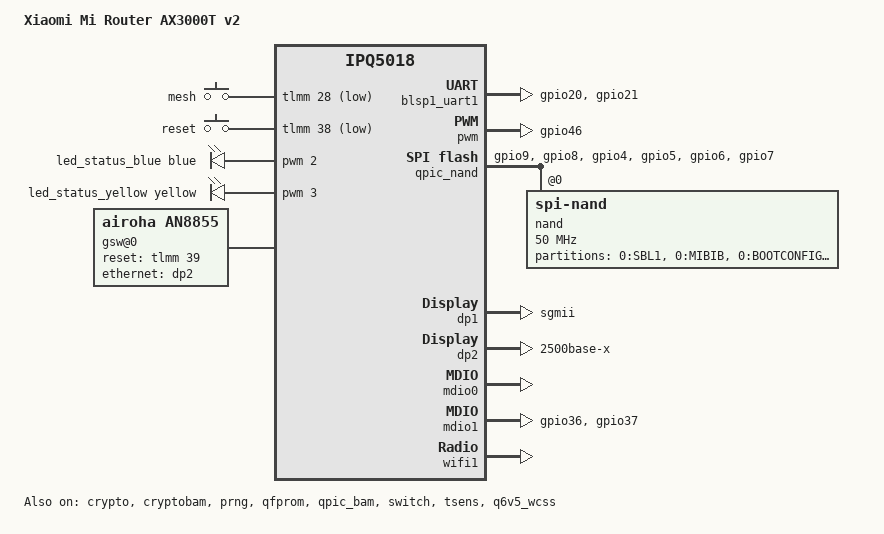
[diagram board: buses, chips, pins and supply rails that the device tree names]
/dts-v1/;

#include "ipq5018.dtsi"
#include "ipq5018-ess.dtsi"
#include "ipq5018-qcn6122.dtsi"

#include <dt-bindings/gpio/gpio.h>
#include <dt-bindings/input/input.h>
#include <dt-bindings/leds/common.h>

/ {
	model = "Xiaomi Mi Router AX3000T v2";
	compatible = "xiaomi,mi-router-ax3000t-v2", "qcom,ipq5018";

	aliases {
		label-mac-device = &dp1;

		led-boot = &led_status_blue;
		led-failsafe = &led_status_yellow;
		led-running = &led_status_blue;
		led-upgrade = &led_status_yellow;

		serial0 = &blsp1_uart1;
	};

	chosen {
		bootargs-append = " ubi.mtd=rootfs root=/dev/ubiblock0_0 coherent_pool=2M";
		stdout-path = "serial0:115200n8";
	};

	keys {
		compatible = "gpio-keys";

		pinctrl-0 = <&button_pins>;
		pinctrl-names = "default";

		button-0 {
			label = "mesh";
			gpios = <&tlmm 28 GPIO_ACTIVE_LOW>;
			linux,code = <KEY_RESTART>;
			debounce-interval = <60>;
		};

		button-1 {
			label = "reset";
			gpios = <&tlmm 38 GPIO_ACTIVE_LOW>;
			linux,code = <KEY_RESTART>;
			debounce-interval = <60>;
		};
	};

	leds {
		compatible = "pwm-leds";

		// pinctrl-0 = <&pwm_pins>;
		// pinctrl-names = "default";

		led_status_blue: led-0 {
			color = <LED_COLOR_ID_BLUE>;
			function = LED_FUNCTION_STATUS;
			pwms = <&pwm 2 50000>;
			max-brightness = <255>;
		};

		led_status_yellow: led-1 {
			color = <LED_COLOR_ID_YELLOW>;
			function = LED_FUNCTION_STATUS;
			pwms = <&pwm 3 50000>;
			max-brightness = <255>;
		};
	};

	reserved-memory {
		q6_mem_regions: q6_mem_regions@4b000000 {
			no-map;
			reg = <0x0 0x4b000000 0x0 0x3000000>;
		};
	};

	gsw@0 {
		compatible = "airoha,an8855";

		#address-cells = <1>;
		#size-cells = <0>;

		airoha,mdio = <&mdio1>;
		#airoha,portmap = "llllw";
		airoha,smi-addr = <6>;

		reset-gpios = <&tlmm 39 GPIO_ACTIVE_HIGH>;

		status = "okay";

		port@5 {
			compatible = "airoha,an8855-port";
			reg = <5>;

			phy-mode = "2500base-x";
			#airoha,stag-on = <1>;
			ethernet = <&dp2>;

			fixed-link {
				speed = <2500>;
				full-duplex;
			};
		};
	};
};

&sleep_clk {
	clock-frequency = <32000>;
};

&xo_board_clk {
	clock-div = <4>;
	clock-mult = <1>;
};

&blsp1_uart1 {
	status = "okay";

	pinctrl-0 = <&serial_0_pins>;
	pinctrl-names = "default";
};

&crypto {
	status = "okay";
};

&cryptobam {
	status = "okay";
};

&prng {
	status = "okay";
};

&pwm {
	status = "okay";

	#pwm-cells = <2>;
	pinctrl-0 = <&pwm_pins>;
	pinctrl-names = "default";
};

&qfprom {
	status = "okay";
};

&qpic_bam {
	status = "okay";
};

&qpic_nand {
	pinctrl-0 = <&qpic_pins>;
	pinctrl-names = "default";
	status = "okay";

	nand@0 {
		compatible = "spi-nand";
		reg = <0>;
		#address-cells = <1>;
		#size-cells = <1>;

		nand-bus-width = <8>;

		nand-ecc-engine = <&qpic_nand>;
		nand-ecc-step-size = <512>;
		nand-ecc-strength = <4>;

		spi-max-frequency = <50000000>;

		partitions {
			compatible = "fixed-partitions";
			#address-cells = <1>;
			#size-cells = <1>;

			partition@0 {
				label = "0:SBL1";
				reg = <0x0 0x80000>;
				read-only;
			};

			partition@80000 {
				label = "0:MIBIB";
				reg = <0x80000 0x80000>;
				read-only;
			};

			partition@100000 {
				label = "0:BOOTCONFIG";
				reg = <0x100000 0x40000>;
				read-only;
			};

			partition@140000 {
				label = "0:BOOTCONFIG1";
				reg = <0x140000 0x40000>;
				read-only;
			};

			partition@180000 {
				label = "0:QSEE";
				reg = <0x180000 0x100000>;
				read-only;
			};

			partition@280000 {
				label = "0:QSEE_1";
				reg = <0x280000 0x100000>;
				read-only;
			};

			partition@380000 {
				label = "0:DEVCFG";
				reg = <0x380000 0x40000>;
				read-only;
			};

			partition@3c0000 {
				label = "0:DEVCFG_1";
				reg = <0x3c0000 0x40000>;
				read-only;
			};

			partition@400000 {
				label = "0:CDT";
				reg = <0x400000 0x40000>;
				read-only;
			};

			partition@440000 {
				label = "0:CDT_1";
				reg = <0x440000 0x40000>;
				read-only;
			};

			partition@480000 {
				label = "0:APPSBLENV";
				reg = <0x480000 0x80000>;
			};

			partition@500000 {
				label = "0:APPSBL";
				reg = <0x500000 0x140000>;
				read-only;
			};

			partition@640000 {
				label = "0:APPSBL_1";
				reg = <0x640000 0x140000>;
				read-only;
			};

			partition@780000 {
				label = "0:ART";
				reg = <0x780000 0x100000>;
				read-only;

				nvmem-layout {
					compatible = "fixed-layout";
					#address-cells = <1>;
					#size-cells = <1>;

					mac_addr_wan: macaddr@0 {
						reg = <0x0 0x6>;
					};

					mac_addr_lan: macaddr@6 {
						reg = <0x6 0x6>;
					};

					mac_addr_wlan: macaddr@12 {
						reg = <0x12 0x6>;
					};

					caldata: caldata@1000 {
						reg = <0x1000 0x20000>;
					};
				};
			};

			partition@880000 {
				label = "0:TRAINING";
				reg = <0x880000 0x80000>;
				read-only;
			};

			partition@900000 {
				label = "bdata";
				reg = <0x900000 0x80000>;
			};

			partition@980000 {
				label = "crash";
				reg = <0x980000 0x80000>;
				read-only;
			};

			partition@a00000 {
				label = "crash_syslog";
				reg = <0xa00000 0x80000>;
				read-only;
			};

			partition@a80000 {
				label = "ubi_kernel";
				reg = <0xa80000 0x2400000>;
			};

			partition@2e80000 {
				label = "rootfs";
				reg = <0x2e80000 0x5180000>;
			};
		};
	};
};

/*
* ===============================================================
*     _______________________             _____________________
*    |        IPQ5018        |           |        AN8855       |
*    | +------+   +--------+ |           | +------+   +------+ |
*    | | MAC0 |---| GE Phy |-+--- MDI ---+ | Phy4 |---| Phy0 | |
*    | +------+   +--------+ |           | +------+   | Phy1 | |
*    | +------+   +--------+ |           | +------+   | Phy2 | |
*    | | MAC1 |---| Uniphy |-+-- SGMII+--+ | Phy5 |---| Phy3 | |
*    | +------+   +--------+ |           | +------+   +------+ |
*    |_______________________|           |_____________________|
*
* ===============================================================
*/

&switch {
	status = "okay";

	// TODO: AN8855 supports 2500base-x
	// switch_mac_mode = <MAC_MODE_SGMII_CHANNEL0>;
	// 0xc in stock:
	switch_mac_mode = <MAC_MODE_SGMII_PLUS>;

	qcom,port_phyinfo {
		// MAC0 -> GE Phy --- AN8855 Phy4
		port@0 {
			// Like in stock fw
			port_id = <1>;
			mdiobus = <&mdio0>;
			phy_address = <7>;
			phy_dac = <16 16>;
		};

		// MAC1 -> Uniphy --- SGMII --- AN8855 Phy5
		port@1 {
			port_id = <2>;
			// "2500" in stock fw
			// port_mac_sel = "QGMAC_PORT";
			forced-speed = <2500>;
			forced-duplex = <1>;
		};
	};
};

&dp1 {
	status = "okay";

	nvmem-cells = <&mac_addr_wan 0>;
	nvmem-cell-names = "mac-address";

	phy-mode = "sgmii";
};

// MAC1---SGMII--->AN8855 Phy5
&dp2 {
	status = "okay";

	nvmem-cells = <&mac_addr_lan 0>;
	nvmem-cell-names = "mac-address";

	// "nss-dp 39d00000.dp2: probe with driver nss-dp failed with error -14" without this block
	// "2500":
	// swphy: unknown speed
	// dp2: fail to register fixed-link: -22
	// phy-mode = "sgmii";
	phy-mode = "2500base-x";

	//fixed-link {
	//	speed = <1000>;
	//	full-duplex;
	//	pause;
	//	asym-pause;
	//};
};

// IPQ5018 GE Phy -> AN8855 Phy4
&ge_phy {
	qcom,dac-preset-short-cable;
};

&mdio0 {
	status = "okay";
};

&mdio1 {
	status = "okay";

	pinctrl-0 = <&mdio1_pins>;
	pinctrl-names = "default";

	// phandle = <80>;
};

&tlmm {
	button_pins: button-state {
		pins = "gpio28", "gpio38";
		function = "gpio";
		drive-strength = <8>;
		bias-pull-up;
	};

	mdio1_pins: mdio-state {
		mdc-pins {
			pins = "gpio36";
			function = "mdc";
			drive-strength = <8>;
			bias-pull-up;
		};

		mdio-pins {
			pins = "gpio37";
			function = "mdio";
			drive-strength = <8>;
			bias-pull-up;
		};
	};

	pwm_pins: pwm-state {
		mux-0 {
			pins = "gpio46";
			function = "pwm0";
			drive-strength = <8>;
			// bias-pull-down;
		};
	};

	qpic_pins: qpic-state {
		clock-pins {
			pins = "gpio9";
			function = "qspi_clk";
			drive-strength = <8>;
			bias-disable;
		};

		cs-pins {
			pins = "gpio8";
			function = "qspi_cs";
			drive-strength = <8>;
			bias-disable;
		};

		data-pins {
			pins = "gpio4", "gpio5", "gpio6", "gpio7";
			function = "qspi_data";
			drive-strength = <8>;
			bias-disable;
		};
	};

	serial_0_pins: uart0-state {
		pins = "gpio20", "gpio21";
		function = "blsp0_uart0";
		bias-disable;
	};
};

&tsens {
	status = "okay";
};

&q6v5_wcss {
	status = "okay";
};

&wifi1 {
	status = "okay";

	qcom,rproc = <&q6_wcss_pd1>;
	qcom,ath11k-calibration-variant = "Xiaomi-Mi-Router-AX3000T-v2";
	qcom,ath11k-fw-memory-mode = <1>;
	qcom,bdf-addr = <0x4c400000>;
};

&wifi1 {
	status = "okay";

	// QCN6102 5G
	qcom,rproc = <&q6_wcss_pd2>;
	qcom,userpd-subsys-name = "q6v5_wcss_userpd2";
	qcom,ath11k-calibration-variant = "Xiaomi-Mi-Router-AX3000T-v2";
	qcom,ath11k-fw-memory-mode = <1>;
	qcom,bdf-addr = <0x4d100000>;
	qcom,m3-dump-addr = <0x4df00000>;
};
